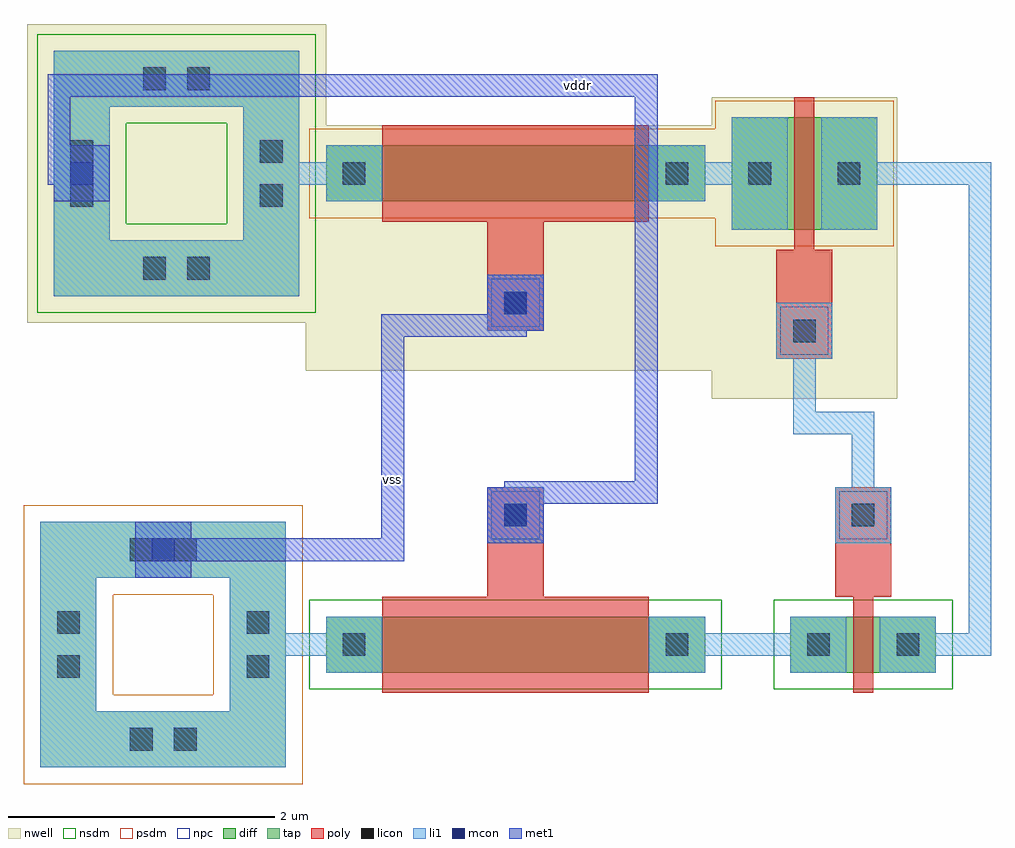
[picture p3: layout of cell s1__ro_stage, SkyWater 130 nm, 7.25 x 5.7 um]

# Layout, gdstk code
import gdstk
lib = gdstk.Library(unit=1e-6, precision=1e-09)
def R(c, l, rs):  # rectangles x0, y0, x1, y1
    for r in rs: c.add(gdstk.rectangle(r[:2], r[2:], *l))
def P(c, l, *ps):  # polygons
    for p in ps: c.add(gdstk.Polygon(p, *l))
nwell = (64, 20)
diff = (65, 20)
tap = (65, 44)
poly = (66, 20)
licon = (66, 44)
li1 = (67, 20)
mcon = (67, 44)
met1 = (68, 20)
nsdm = (93, 44)
psdm = (94, 20)
npc = (95, 20)

mos_array_5 = lib.new_cell('mos_array$5')
R(mos_array_5, diff, [(0,0,2.84,0.42)])
R(mos_array_5, poly, [(0.42,-0.15,2.42,0.42), (0.42,0.42,2.42,0.57), (0.42,0.42,2.42,0.57), (1.21,0.57,1.63,1.39)])
R(mos_array_5, licon, [(0.125,0.125,0.295,0.295), (2.545,0.125,2.715,0.295), (1.335,1.095,1.505,1.265)])
R(mos_array_5, li1, [(0,0,0.42,0.42), (2.42,0,2.84,0.42), (1.21,0.97,1.63,1.39)])
R(mos_array_5, nsdm, [(-0.125,-0.125,2.965,0.545)])
R(mos_array_5, npc, [(1.24,1,1.6,1.36)])

mnt__mnt_1 = lib.new_cell('mnt__mnt$1')
mnt__mnt_1.add(gdstk.Reference(mos_array_5, (0,0)))

guard_ring_2 = lib.new_cell('guard_ring$2')
P(guard_ring_2, tap, [(0,0),(0,1.42),(0.42,1.42),(0.42,0.42),(1.42,0.42),(1.42,1.42),(0,1.42),(0,1.84),(1.84,1.84),(1.84,0)])
R(guard_ring_2, licon, [(0.67,0.125,0.84,0.295), (1,0.125,1.17,0.295), (0.125,0.67,0.295,0.84), (1.545,0.67,1.715,0.84), (0.125,1,0.295,1.17), (1.545,1,1.715,1.17), (0.67,1.545,0.84,1.715), (1,1.545,1.17,1.715)])
P(guard_ring_2, li1, [(0,0),(0,1.42),(0.42,1.42),(0.42,0.42),(1.42,0.42),(1.42,1.42),(0,1.42),(0,1.84),(1.84,1.84),(1.84,0)])
P(guard_ring_2, psdm, [(-0.125,-0.125),(-0.125,1.295),(0.545,1.295),(0.545,0.545),(1.295,0.545),(1.295,1.295),(-0.125,1.295),(-0.125,1.965),(1.965,1.965),(1.965,-0.125)])

psub_tap__psub_tap_1 = lib.new_cell('psub_tap__psub_tap$1')
psub_tap__psub_tap_1.add(gdstk.Reference(guard_ring_2, (0,0)))

mos_array_1_1 = lib.new_cell('mos_array$1$1')
R(mos_array_1_1, diff, [(0,0,1.09,0.42)])
R(mos_array_1_1, poly, [(0.47,-0.15,0.62,0.42), (0.47,0.42,0.62,0.57), (0.47,0.42,0.62,0.57), (0.335,0.57,0.755,1.39)])
R(mos_array_1_1, licon, [(0.125,0.125,0.295,0.295), (0.795,0.125,0.965,0.295), (0.46,1.095,0.63,1.265)])
R(mos_array_1_1, li1, [(0,0,0.42,0.42), (0.67,0,1.09,0.42), (0.335,0.97,0.755,1.39)])
R(mos_array_1_1, nsdm, [(-0.125,-0.125,1.215,0.545)])
R(mos_array_1_1, npc, [(0.365,1,0.725,1.36)])

mn__mn = lib.new_cell('mn__mn')
mn__mn.add(gdstk.Reference(mos_array_1_1, (0,0)))

mos_array_2_1 = lib.new_cell('mos_array$2$1')
R(mos_array_2_1, nwell, [(-0.15,-0.15,2.99,1.69)])
R(mos_array_2_1, diff, [(0,0,2.84,0.42)])
R(mos_array_2_1, poly, [(0.42,-0.15,2.42,0.42), (0.42,0.42,2.42,0.57), (0.42,0.42,2.42,0.57), (1.21,0.57,1.63,1.39)])
R(mos_array_2_1, licon, [(0.125,0.125,0.295,0.295), (2.545,0.125,2.715,0.295), (1.335,1.095,1.505,1.265)])
R(mos_array_2_1, li1, [(0,0,0.42,0.42), (2.42,0,2.84,0.42), (1.21,0.97,1.63,1.39)])
R(mos_array_2_1, psdm, [(-0.125,-0.125,2.965,0.545)])
R(mos_array_2_1, npc, [(1.24,1,1.6,1.36)])

mph__mph_1 = lib.new_cell('mph__mph$1')
mph__mph_1.add(gdstk.Reference(mos_array_2_1, (0,0)))

guard_ring_1_1 = lib.new_cell('guard_ring$1$1')
R(guard_ring_1_1, nwell, [(-0.2,-0.2,2.04,2.04)])
P(guard_ring_1_1, tap, [(0,0),(0,1.42),(0.42,1.42),(0.42,0.42),(1.42,0.42),(1.42,1.42),(0,1.42),(0,1.84),(1.84,1.84),(1.84,0)])
R(guard_ring_1_1, licon, [(0.67,0.125,0.84,0.295), (1,0.125,1.17,0.295), (0.125,0.67,0.295,0.84), (1.545,0.67,1.715,0.84), (0.125,1,0.295,1.17), (1.545,1,1.715,1.17), (0.67,1.545,0.84,1.715), (1,1.545,1.17,1.715)])
P(guard_ring_1_1, li1, [(0,0),(0,1.42),(0.42,1.42),(0.42,0.42),(1.42,0.42),(1.42,1.42),(0,1.42),(0,1.84),(1.84,1.84),(1.84,0)])
P(guard_ring_1_1, nsdm, [(-0.125,-0.125),(-0.125,1.295),(0.545,1.295),(0.545,0.545),(1.295,0.545),(1.295,1.295),(-0.125,1.295),(-0.125,1.965),(1.965,1.965),(1.965,-0.125)])

nwell_tap__nwell_tap_1 = lib.new_cell('nwell_tap__nwell_tap$1')
nwell_tap__nwell_tap_1.add(gdstk.Reference(guard_ring_1_1, (0,0)))

mos_array_3_1 = lib.new_cell('mos_array$3$1')
R(mos_array_3_1, nwell, [(-0.15,-0.15,1.24,2.11)])
R(mos_array_3_1, diff, [(0,0,1.09,0.84)])
R(mos_array_3_1, poly, [(0.47,-0.15,0.62,0.84), (0.47,0.84,0.62,0.99), (0.47,0.84,0.62,0.99), (0.335,0.99,0.755,1.81)])
R(mos_array_3_1, licon, [(0.125,0.335,0.295,0.505), (0.795,0.335,0.965,0.505), (0.46,1.515,0.63,1.685)])
R(mos_array_3_1, li1, [(0,0,0.42,0.84), (0.67,0,1.09,0.84), (0.335,1.39,0.755,1.81)])
R(mos_array_3_1, psdm, [(-0.125,-0.125,1.215,0.965)])
R(mos_array_3_1, npc, [(0.365,1.42,0.725,1.78)])

mp__mp = lib.new_cell('mp__mp')
mp__mp.add(gdstk.Reference(mos_array_3_1, (0,0)))

core__core_1 = lib.new_cell('core__core$1')
R(core__core_1, li1, [(3.815,1.18,4.235,1.35), (3.375,2.39,3.795,2.56)])
core__core_1.add(gdstk.FlexPath([(3.585,2.56),(3.585,1.87),(4.025,1.87),(4.025,1.18)], 0.17, ends="flush", simple_path=True, layer=67, datatype=20))  # li1
core__core_1.add(gdstk.FlexPath([(3.92,3.74),(4.9,3.74),(4.9,0.21),(4.36,0.21)], 0.17, ends="flush", simple_path=True, layer=67, datatype=20))  # li1
core__core_1.add(gdstk.FlexPath([(2.63,3.74),(3.25,3.74)], 0.17, ends="flush", simple_path=True, layer=67, datatype=20))  # li1
core__core_1.add(gdstk.FlexPath([(2.63,0.21),(3.69,0.21)], 0.17, ends="flush", simple_path=True, layer=67, datatype=20))  # li1
core__core_1.add(gdstk.FlexPath([(0.21,3.74),(-0.41,3.74)], 0.17, ends="flush", simple_path=True, layer=67, datatype=20))  # li1
core__core_1.add(gdstk.FlexPath([(0.21,0.21),(-0.51,0.21)], 0.17, ends="flush", simple_path=True, layer=67, datatype=20))  # li1
core__core_1.add(gdstk.Reference(mnt__mnt_1, (0,0)))
core__core_1.add(gdstk.Reference(psub_tap__psub_tap_1, (-2.14,-0.71)))
core__core_1.add(gdstk.Reference(mn__mn, (3.48,0)))
core__core_1.add(gdstk.Reference(mph__mph_1, (0,3.95), x_reflection=True))
core__core_1.add(gdstk.Reference(nwell_tap__nwell_tap_1, (-2.04,2.82)))
core__core_1.add(gdstk.Reference(mp__mp, (3.04,4.16), x_reflection=True))
core__core_1.add(gdstk.Label('a', (3.805,1.87), layer=67, texttype=5))
core__core_1.add(gdstk.Label('y', (4.9,2.195), layer=67, texttype=5))
core__core_1.add(gdstk.Label('py', (2.94,3.74), layer=67, texttype=5))
core__core_1.add(gdstk.Label('ny', (3.16,0.21), layer=67, texttype=5))
core__core_1.add(gdstk.Label('vddr', (-0.1,3.74), layer=67, texttype=5))
core__core_1.add(gdstk.Label('vss', (-0.15,0.21), layer=67, texttype=5))
core__core_1.add(gdstk.Label('vddr', (-1.83,3.74), layer=67, texttype=5))
core__core_1.add(gdstk.Label('vss', (-1.22,0.92), layer=67, texttype=5))
core__core_1.add(gdstk.Label('mph_g', (1.42,2.77), layer=67, texttype=5))
core__core_1.add(gdstk.Label('mnt_g', (1.42,1.18), layer=67, texttype=5))

s1__ro_stage = lib.new_cell('s1__ro_stage')
R(s1__ro_stage, li1, [(-1.43,0.71,-1.01,1.13), (1.21,0.97,1.63,1.39), (1.21,2.56,1.63,2.98), (-2.04,3.53,-1.62,3.95)])
R(s1__ro_stage, mcon, [(-1.305,0.835,-1.135,1.005), (1.335,1.095,1.505,1.265), (1.335,2.685,1.505,2.855), (-1.915,3.655,-1.745,3.825)])
R(s1__ro_stage, met1, [(-1.43,0.71,-1.01,1.13), (1.21,0.97,1.63,1.39), (1.21,2.56,1.63,2.98), (-2.04,3.53,-1.62,3.95)])
s1__ro_stage.add(gdstk.FlexPath([(1.42,2.77),(1.42,2.6),(0.5,2.6),(0.5,0.92),(-1.22,0.92),(-1.22,0.92)], 0.17, ends="flush", simple_path=True, layer=68, datatype=20))  # met1
s1__ro_stage.add(gdstk.FlexPath([(1.42,1.18),(1.42,1.35),(2.4,1.35),(2.4,4.4),(-2,4.4),(-2,3.74),(-1.83,3.74)], 0.17, ends="flush", simple_path=True, layer=68, datatype=20))  # met1
s1__ro_stage.add(gdstk.Reference(core__core_1, (0,0)))
s1__ro_stage.add(gdstk.Label('vss', (0.5,1.445), layer=68, texttype=5))
s1__ro_stage.add(gdstk.Label('vddr', (1.885,4.4), layer=68, texttype=5))

lib.write_gds('s1__ro_stage.gds')
